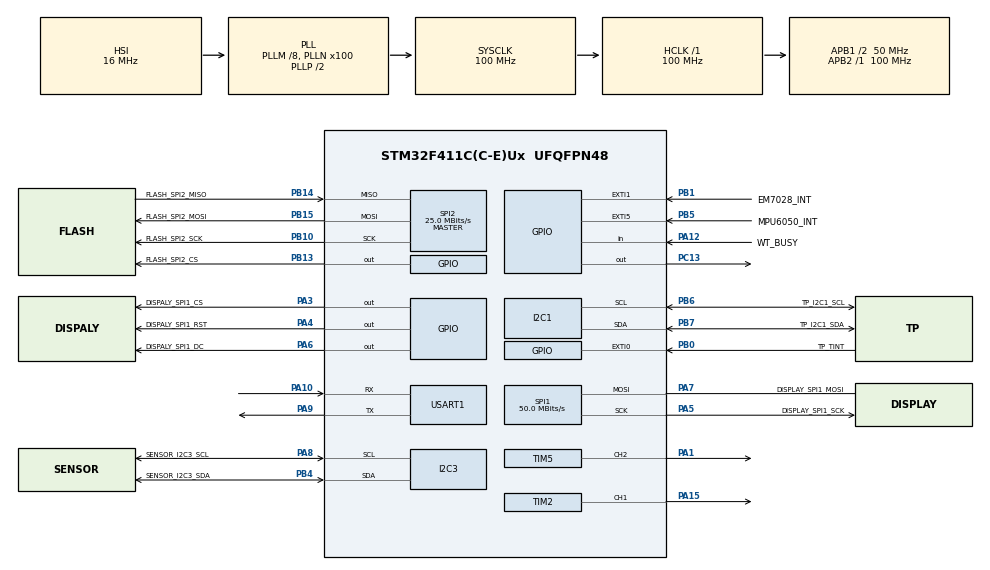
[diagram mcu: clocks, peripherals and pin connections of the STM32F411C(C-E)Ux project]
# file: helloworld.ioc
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Dma.I2C3_RX.1.Direction=DMA_PERIPH_TO_MEMORY
Dma.I2C3_RX.1.FIFOMode=DMA_FIFOMODE_DISABLE
Dma.I2C3_RX.1.Instance=DMA1_Stream2
Dma.I2C3_RX.1.MemDataAlignment=DMA_MDATAALIGN_BYTE
Dma.I2C3_RX.1.MemInc=DMA_MINC_ENABLE
Dma.I2C3_RX.1.Mode=DMA_NORMAL
Dma.I2C3_RX.1.PeriphDataAlignment=DMA_PDATAALIGN_BYTE
Dma.I2C3_RX.1.PeriphInc=DMA_PINC_DISABLE
Dma.I2C3_RX.1.Priority=DMA_PRIORITY_LOW
Dma.Request0=TIM2_CH3/UP
Dma.Request1=I2C3_RX
Dma.Request2=SPI1_TX
Dma.SPI1_TX.2.Direction=DMA_MEMORY_TO_PERIPH
Dma.SPI1_TX.2.FIFOMode=DMA_FIFOMODE_DISABLE
Dma.SPI1_TX.2.Instance=DMA2_Stream2
Dma.SPI1_TX.2.MemDataAlignment=DMA_MDATAALIGN_BYTE
Dma.SPI1_TX.2.MemInc=DMA_MINC_ENABLE
Dma.SPI1_TX.2.Mode=DMA_NORMAL
Dma.SPI1_TX.2.PeriphDataAlignment=DMA_PDATAALIGN_BYTE
Dma.SPI1_TX.2.PeriphInc=DMA_PINC_DISABLE
Dma.SPI1_TX.2.Priority=DMA_PRIORITY_LOW
Dma.TIM2_CH3/UP.0.Direction=DMA_MEMORY_TO_PERIPH
Dma.TIM2_CH3/UP.0.FIFOMode=DMA_FIFOMODE_DISABLE
Dma.TIM2_CH3/UP.0.Instance=DMA1_Stream1
Dma.TIM2_CH3/UP.0.MemDataAlignment=DMA_MDATAALIGN_WORD
Dma.TIM2_CH3/UP.0.MemInc=DMA_MINC_ENABLE
Dma.TIM2_CH3/UP.0.Mode=DMA_NORMAL
Dma.TIM2_CH3/UP.0.PeriphDataAlignment=DMA_PDATAALIGN_WORD
Dma.TIM2_CH3/UP.0.PeriphInc=DMA_PINC_DISABLE
Dma.TIM2_CH3/UP.0.Priority=DMA_PRIORITY_LOW
FREERTOS.Tasks01=defaultTask,24,256,StartDefaultTask,Default,NULL,Dynamic,NULL,NULL;letter_shell,8,1024,shellTask,As weak,&shell,Dynamic,NULL,NULL
FREERTOS.configCHECK_FOR_STACK_OVERFLOW=2
FREERTOS.configENABLE_FPU=1
FREERTOS.configGENERATE_RUN_TIME_STATS=0
FREERTOS.configTOTAL_HEAP_SIZE=61440
FREERTOS.configUSE_DAEMON_TASK_STARTUP_HOOK=0
FREERTOS.configUSE_IDLE_HOOK=0
FREERTOS.configUSE_STATS_FORMATTING_FUNCTIONS=1
I2C3.DutyCycle=I2C_DUTYCYCLE_16_9
I2C3.I2C_Mode=I2C_Fast
Mcu.Family=STM32F4
Mcu.Name=STM32F411C(C-E)Ux
Mcu.Package=UFQFPN48
NVIC.DMA1_Stream1_IRQn=true\:5\:0\:false\:false\:true\:true\:false\:true\:true
NVIC.DMA1_Stream2_IRQn=true\:5\:0\:false\:false\:true\:true\:false\:true\:true
NVIC.DMA2_Stream2_IRQn=true\:5\:0\:false\:false\:true\:true\:false\:true\:true
NVIC.EXTI9_5_IRQn=true\:5\:0\:false\:false\:true\:true\:true\:true\:true
NVIC.PriorityGroup=NVIC_PRIORITYGROUP_4
NVIC.TIM1_UP_TIM10_IRQn=true\:15\:0\:false\:false\:true\:false\:false\:true\:true
NVIC.TimeBase=TIM1_UP_TIM10_IRQn
NVIC.TimeBaseIP=TIM1
PA1.Signal=S_TIM5_CH2
PA10.Mode=Asynchronous
PA10.Signal=USART1_RX
PA12.GPIO_Label=WT_BUSY
PA12.Signal=GPIO_Input
PA13.Mode=Trace_Asynchronous_SW
PA13.Signal=SYS_JTMS-SWDIO
PA14.Mode=Trace_Asynchronous_SW
PA14.Signal=SYS_JTCK-SWCLK
PA15.GPIO_PuPd=GPIO_PULLUP
PA15.GPIO_Speed=GPIO_SPEED_FREQ_VERY_HIGH
PA15.Signal=S_TIM2_CH1_ETR
PA3.GPIO_Label=DISPALY_SPI1_CS
PA3.PinState=GPIO_PIN_SET
PA3.Signal=GPIO_Output
PA4.GPIO_Label=DISPALY_SPI1_RST
PA4.PinState=GPIO_PIN_SET
PA4.Signal=GPIO_Output
PA5.GPIO_Label=DISPLAY_SPI1_SCK
PA5.Mode=Simplex_Bidirectional_Master
PA5.Signal=SPI1_SCK
PA6.GPIO_Label=DISPALY_SPI1_DC
PA6.Signal=GPIO_Output
PA7.GPIO_Label=DISPLAY_SPI1_MOSI
PA7.Mode=Simplex_Bidirectional_Master
PA7.Signal=SPI1_MOSI
PA8.GPIO_Label=SENSOR_I2C3_SCL
PA8.Mode=I2C
PA8.Signal=I2C3_SCL
PA9.Mode=Asynchronous
PA9.Signal=USART1_TX
PB0.GPIO_Label=TP_TINT
PB0.Signal=GPXTI0
PB1.GPIO_Label=EM7028_INT
PB1.Signal=GPXTI1
PB10.GPIO_Label=FLASH_SPI2_SCK
PB10.Mode=Full_Duplex_Master
PB10.Signal=SPI2_SCK
PB13.GPIO_Label=FLASH_SPI2_CS
PB13.Signal=GPIO_Output
PB14.GPIO_Label=FLASH_SPI2_MISO
PB14.Mode=Full_Duplex_Master
PB14.Signal=SPI2_MISO
PB15.GPIO_Label=FLASH_SPI2_MOSI
PB15.Mode=Full_Duplex_Master
PB15.Signal=SPI2_MOSI
PB3.Mode=Trace_Asynchronous_SW
PB3.Signal=SYS_JTDO-SWO
PB4.GPIO_Label=SENSOR_I2C3_SDA
PB4.Mode=I2C
PB4.Signal=I2C3_SDA
PB5.GPIO_Label=MPU6050_INT
PB5.GPIO_PuPd=GPIO_PULLDOWN
PB5.Signal=GPXTI5
PB6.GPIO_Label=TP_I2C1_SCL
PB6.Mode=I2C
PB6.Signal=I2C1_SCL
PB7.GPIO_Label=TP_I2C1_SDA
PB7.Mode=I2C
PB7.Signal=I2C1_SDA
PC13-ANTI_TAMP.Signal=GPIO_Output
PH0\ -\ OSC_IN.Mode=HSE-External-Oscillator
PH0\ -\ OSC_IN.Signal=RCC_OSC_IN
PH1\ -\ OSC_OUT.Mode=HSE-External-Oscillator
PH1\ -\ OSC_OUT.Signal=RCC_OSC_OUT
ProjectManager.HeapSize=0x200
ProjectManager.StackSize=0x400
ProjectManager.TargetToolchain=Makefile
RCC.48MHZClocksFreq_Value=50000000
RCC.AHBFreq_Value=100000000
RCC.APB1CLKDivider=RCC_HCLK_DIV2
RCC.APB1Freq_Value=50000000
RCC.APB1TimFreq_Value=100000000
RCC.APB2Freq_Value=100000000
RCC.APB2TimFreq_Value=100000000
RCC.CortexFreq_Value=100000000
RCC.HCLKFreq_Value=100000000
RCC.HSE_VALUE=25000000
RCC.HSI_VALUE=16000000
RCC.LSE_VALUE=32768
RCC.PLLM=8
RCC.PLLN=100
RCC.SYSCLKFreq_VALUE=100000000
RCC.SYSCLKSource=RCC_SYSCLKSOURCE_PLLCLK
RCC.VCOOutputFreq_Value=200000000
SH.S_TIM2_CH1_ETR.0=TIM2_CH1,PWM Generation1 CH1
SH.S_TIM5_CH2.0=TIM5_CH2,PWM Generation2 CH2
SPI1.BaudRatePrescaler=SPI_BAUDRATEPRESCALER_2
SPI1.CLKPhase=SPI_PHASE_1EDGE
SPI1.CalculateBaudRate=50.0 MBits/s
SPI1.Direction=SPI_DIRECTION_1LINE
SPI1.Mode=SPI_MODE_MASTER
SPI1.VirtualType=VM_MASTER
SPI2.CalculateBaudRate=25.0 MBits/s
SPI2.Direction=SPI_DIRECTION_2LINES
SPI2.Mode=SPI_MODE_MASTER
SPI2.VirtualType=VM_MASTER
TIM2.Channel-PWM\ Generation1\ CH1=TIM_CHANNEL_1
TIM2.OC1Preload_PWM=DISABLE
TIM2.Period=799
TIM2.Prescaler=99
TIM2.Pulse-PWM\ Generation1\ CH1=800
TIM5.Channel-PWM\ Generation2\ CH2=TIM_CHANNEL_2
USART1.VirtualMode=VM_ASYNC
VP_FREERTOS_VS_CMSIS_V2.Mode=CMSIS_V2
VP_SYS_VS_tim1.Mode=TIM1
VP_TIM2_VS_ClockSourceINT.Mode=Internal
board=custom

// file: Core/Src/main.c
/* USER CODE BEGIN Header */
/**
 ******************************************************************************
 * @file           : main.c
 * @brief          : Main program body
 ******************************************************************************
 * @attention
 *
 * Copyright (c) 2026 STMicroelectronics.
 * All rights reserved.
 *
 * This software is licensed under terms that can be found in the LICENSE file
 * in the root directory of this software component.
 * If no LICENSE file comes with this software, it is provided AS-IS.
 *
 ******************************************************************************
 */
/* USER CODE END Header */
#include "main.h"
#include "cmsis_os.h"
#include "dma.h"
#include "i2c.h"
#include "spi.h"
#include "tim.h"
#include "usart.h"
#include "gpio.h"

/* USER CODE BEGIN Includes */
#include <stdio.h>

#include "platform_io_register.h"

#include "SEGGER_SYSVIEW.h"
#include "Debug.h"
#include "itm_trace.h"
#include "dwt_port.h"
/* USER CODE END Includes */

/* USER CODE BEGIN PD */
#define CPU_CLOCK_HZ 100000000U
#define SWO_CLOCK_HZ 2000000U
/* USER CODE END PD */

void SystemClock_Config(void);
void MX_FREERTOS_Init(void);

/* USER CODE BEGIN 0 */
#ifdef __GNUC__
#define PUTCHAR_PROTOTYPE int __io_putchar(int ch)
#else
#define PUTCHAR_PROTOTYPE int fputc(int ch, FILE *f)
#endif /* __GNUC__*/

/******************************************************************
 *@brief  Retargets the C library printf  function to the USART.
 *@param  None
 *@retval None
 ******************************************************************/
PUTCHAR_PROTOTYPE
{
    return itm_putchar(ch);
}

__IO uint32_t VectorTable[98] __attribute__((used, aligned(512), section(".ram_vector_table")));
void vector_to_ram(void)
{
  for (uint8_t i = 0; i < 98; i++)
  {
    VectorTable[i] = *(__IO uint32_t *)(0x08000000 + (i << 2));
  }
  __disable_irq();
  SCB->VTOR = (uint32_t)VectorTable;
  __enable_irq();
}

/* USER CODE END 0 */

int main(void)
{
  /* USER CODE BEGIN 1 */
  // vector_to_ram();
  /* USER CODE END 1 */

  /* MCU Configuration--------------------------------------------------------*/

  /* Reset of all peripherals, Initializes the Flash interface and the Systick. */
  HAL_Init();

  /* Configure the system clock */
  SystemClock_Config();

  /* Initialize all configured peripherals */
  MX_GPIO_Init();
  MX_DMA_Init();
  MX_USART1_UART_Init();
  MX_TIM2_Init();
  MX_I2C3_Init();
  MX_I2C1_Init();
  MX_SPI1_Init();
  MX_SPI2_Init();
  MX_TIM5_Init();
  /* USER CODE BEGIN 2 */
  core_dwt_init();
  itm_trace_init(CPU_CLOCK_HZ, SWO_CLOCK_HZ);
  debug_init();
  SEGGER_SYSVIEW_Conf();
  platform_io_register();
  /* USER CODE END 2 */

  /* Init scheduler */
  osKernelInitialize();  /* Call init function for freertos objects (in freertos.c) */
  MX_FREERTOS_Init();

  /* Start scheduler */
  osKernelStart();
  /* We should never get here as control is now taken by the scheduler */
  /* Infinite loop */
  while (1)
  {

  }
}

void SystemClock_Config(void)
{
  RCC_OscInitTypeDef RCC_OscInitStruct = {0};
  RCC_ClkInitTypeDef RCC_ClkInitStruct = {0};

  /** Configure the main internal regulator output voltage
  */
  __HAL_RCC_PWR_CLK_ENABLE();
  __HAL_PWR_VOLTAGESCALING_CONFIG(PWR_REGULATOR_VOLTAGE_SCALE1);

  /** Initializes the RCC Oscillators according to the specified parameters
  * in the RCC_OscInitTypeDef structure.
  */
  RCC_OscInitStruct.OscillatorType = RCC_OSCILLATORTYPE_HSI;
  RCC_OscInitStruct.HSIState = RCC_HSI_ON;
  RCC_OscInitStruct.HSICalibrationValue = RCC_HSICALIBRATION_DEFAULT;
  RCC_OscInitStruct.PLL.PLLState = RCC_PLL_ON;
  RCC_OscInitStruct.PLL.PLLSource = RCC_PLLSOURCE_HSI;
  RCC_OscInitStruct.PLL.PLLM = 8;
  RCC_OscInitStruct.PLL.PLLN = 100;
  RCC_OscInitStruct.PLL.PLLP = RCC_PLLP_DIV2;
  RCC_OscInitStruct.PLL.PLLQ = 4;
  if (HAL_RCC_OscConfig(&RCC_OscInitStruct) != HAL_OK)
  {
    Error_Handler();
  }

  /** Initializes the CPU, AHB and APB buses clocks
  */
  RCC_ClkInitStruct.ClockType = RCC_CLOCKTYPE_HCLK|RCC_CLOCKTYPE_SYSCLK
                              |RCC_CLOCKTYPE_PCLK1|RCC_CLOCKTYPE_PCLK2;
  RCC_ClkInitStruct.SYSCLKSource = RCC_SYSCLKSOURCE_PLLCLK;
  RCC_ClkInitStruct.AHBCLKDivider = RCC_SYSCLK_DIV1;
  RCC_ClkInitStruct.APB1CLKDivider = RCC_HCLK_DIV2;
  RCC_ClkInitStruct.APB2CLKDivider = RCC_HCLK_DIV1;

  if (HAL_RCC_ClockConfig(&RCC_ClkInitStruct, FLASH_LATENCY_3) != HAL_OK)
  {
    Error_Handler();
  }
}

void HAL_TIM_PeriodElapsedCallback(TIM_HandleTypeDef *htim)
{
  if (htim->Instance == TIM1) {
    HAL_IncTick();
  }
}

void Error_Handler(void)
{
  __disable_irq();
  while (1)
  {
  }
}

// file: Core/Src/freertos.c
/* USER CODE BEGIN Header */
/**
  ******************************************************************************
  * File Name          : freertos.c
  * Description        : Code for freertos applications
  ******************************************************************************
  * @attention
  *
  * Copyright (c) 2026 STMicroelectronics.
  * All rights reserved.
  *
  * This software is licensed under terms that can be found in the LICENSE file
  * in the root directory of this software component.
  * If no LICENSE file comes with this software, it is provided AS-IS.
  *
  ******************************************************************************
  */
/* USER CODE END Header */

#include "FreeRTOS.h"
#include "task.h"
#include "main.h"
#include "cmsis_os.h"

/* USER CODE BEGIN Includes */
#include <stdio.h>

#include "i2c_port.h"

#include "shell.h"
#include "shell_port.h"
#include "user_init.h"
#include "bsp_wrapper_temp_humi.h"
#include "bsp_wrapper_motion.h"

#include "Debug.h"
/* USER CODE END Includes */

/* Definitions for defaultTask */
osThreadId_t defaultTaskHandle;
const osThreadAttr_t defaultTask_attributes = {
  .name = "defaultTask",
  .stack_size = 256 * 4,
  .priority = (osPriority_t) osPriorityNormal,
};
/* Definitions for letter_shell */
osThreadId_t letter_shellHandle;
const osThreadAttr_t letter_shell_attributes = {
  .name = "letter_shell",
  .stack_size = 1024 * 4,
  .priority = (osPriority_t) osPriorityLow,
};

void StartDefaultTask(void *argument);
void shellTask(void *argument);

void MX_FREERTOS_Init(void); /* (MISRA C 2004 rule 8.1) */

/* Hook prototypes */
void vApplicationStackOverflowHook(xTaskHandle xTask, signed char *pcTaskName);

/* USER CODE BEGIN 4 */
void vApplicationStackOverflowHook(xTaskHandle xTask, signed char *pcTaskName)
{
   /* Run time stack overflow checking is performed if
   configCHECK_FOR_STACK_OVERFLOW is defined to 1 or 2. This hook function is
   called if a stack overflow is detected. */
    (void)xTask;
    (void)pcTaskName;
    /* Stack overflow — spin here so debugger can inspect pcTaskName via call stack */
    taskDISABLE_INTERRUPTS();
    for (;;)
    {
    }
}
/* USER CODE END 4 */

void MX_FREERTOS_Init(void) {
  /* USER CODE BEGIN Init */

  userShellInit();

  temp_humi_drv_init();
  motion_drv_init();
  /* USER CODE END Init */

  /* USER CODE BEGIN RTOS_MUTEX */
  /* add mutexes, ... */
  // core_i2c_port_init(CORE_I2C_BUS_1);
  /* USER CODE END RTOS_MUTEX */

  /* Create the thread(s) */
  /* creation of defaultTask */
  defaultTaskHandle = osThreadNew(StartDefaultTask, NULL, &defaultTask_attributes);

  /* creation of letter_shell */
  letter_shellHandle = osThreadNew(shellTask, (void*) &shell, &letter_shell_attributes);

  /* USER CODE BEGIN RTOS_THREADS */
  user_apptask_init();
  /* USER CODE END RTOS_THREADS */

}

void StartDefaultTask(void *argument)
{
  /* USER CODE BEGIN StartDefaultTask */
  for (;;)
  {
    DEBUG_OUT(i, CORE_ITM_LOG_TAG, "hello from defaultTask");
    osDelay(1000);
  }
  /* USER CODE END StartDefaultTask */
}

__weak void shellTask(void *argument)
{
  /* USER CODE BEGIN shellTask */
  /* Infinite loop */
  for(;;)
  {
    osDelay(1000);
  }
  /* USER CODE END shellTask */
}
